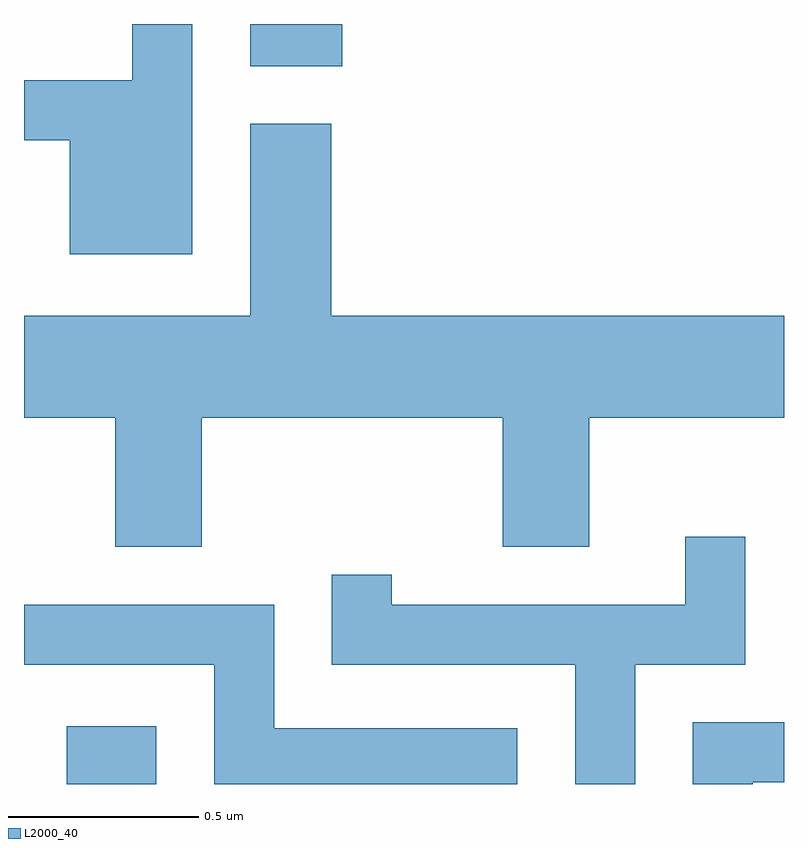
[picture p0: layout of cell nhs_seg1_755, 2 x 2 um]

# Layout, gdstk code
import gdstk
lib = gdstk.Library(unit=1e-6, precision=1e-09)
def R(c, l, rs):  # rectangles x0, y0, x1, y1
    for r in rs: c.add(gdstk.rectangle(r[:2], r[2:], *l))
def P(c, l, *ps):  # polygons
    for p in ps: c.add(gdstk.Polygon(p, *l))
L2000_40 = (2000, 40)

nhs_seg1_755 = lib.new_cell('nhs_seg1_755')
R(nhs_seg1_755, L2000_40, [(190.723,909.712,190.959,909.864), (191.206,911.601,191.449,911.712)])
P(nhs_seg1_755, L2000_40, [(191.054,911.712),(190.896,911.712),(190.896,911.564),(190.611,911.564),(190.611,911.406),(190.731,911.406),(190.731,911.106),(191.054,911.106)],
  [(191.079,910.676),(191.871,910.676),(191.871,910.336),(192.099,910.336),(192.099,910.676),(192.611,910.676),(192.611,910.944),(191.419,910.944),(191.419,911.449),(191.206,911.449),(191.206,910.944),(190.611,910.944),(190.611,910.676),(190.851,910.676),(190.851,910.336),(191.079,910.336)],
  [(192.219,910.026),(192.509,910.026),(192.509,910.363),(192.351,910.363),(192.351,910.184),(191.579,910.184),(191.579,910.263),(191.421,910.263),(191.421,910.026),(192.061,910.026),(192.061,909.712),(192.219,909.712)],
  [(191.909,909.859),(191.269,909.859),(191.269,910.184),(190.611,910.184),(190.611,910.026),(191.111,910.026),(191.111,909.712),(191.909,909.712)],
  [(192.529,909.716),(192.611,909.716),(192.611,909.874),(192.371,909.874),(192.371,909.712),(192.529,909.712)])

lib.write_gds('nhs_seg1_755.gds')
